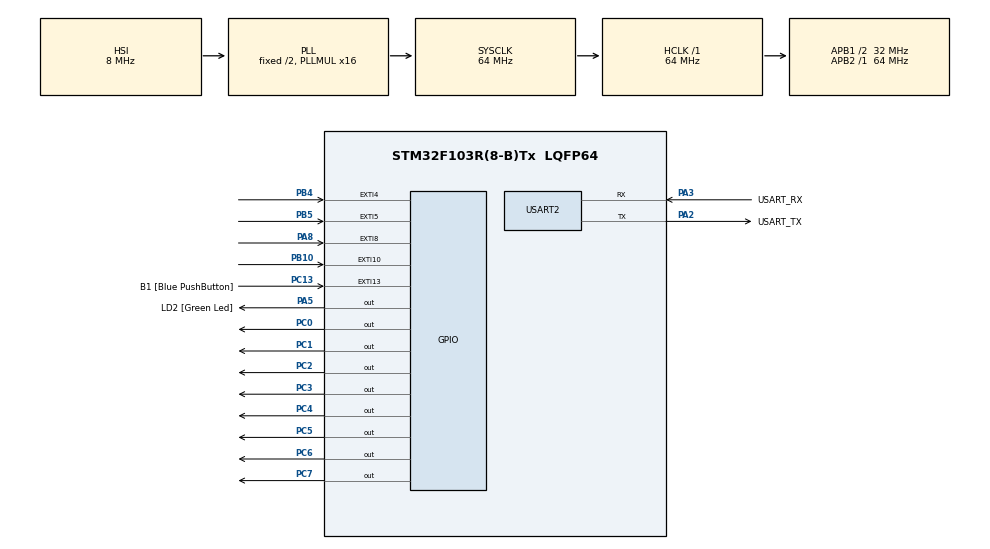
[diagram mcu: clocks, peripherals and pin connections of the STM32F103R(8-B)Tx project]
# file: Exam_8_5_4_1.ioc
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Mcu.Family=STM32F1
Mcu.Name=STM32F103R(8-B)Tx
Mcu.Package=LQFP64
NVIC.EXTI15_10_IRQn=true\:0\:0\:false\:false\:true\:true\:true\:true
NVIC.EXTI4_IRQn=true\:0\:0\:false\:false\:true\:true\:true\:true
NVIC.EXTI9_5_IRQn=true\:0\:0\:false\:false\:true\:true\:true\:true
NVIC.PriorityGroup=NVIC_PRIORITYGROUP_4
NVIC.TIM2_IRQn=true\:0\:0\:false\:false\:true\:true\:true\:true
PA13.GPIO_Label=TMS
PA13.Mode=Serial_Wire
PA13.Signal=SYS_JTMS-SWDIO
PA14.GPIO_Label=TCK
PA14.Mode=Serial_Wire
PA14.Signal=SYS_JTCK-SWCLK
PA2.GPIO_Label=USART_TX
PA2.GPIO_Mode=GPIO_MODE_AF_PP
PA2.GPIO_PuPd=GPIO_NOPULL
PA2.GPIO_Speed=GPIO_SPEED_FREQ_LOW
PA2.Mode=Asynchronous
PA2.Signal=USART2_TX
PA3.GPIO_Label=USART_RX
PA3.GPIO_Mode=GPIO_MODE_AF_PP
PA3.GPIO_PuPd=GPIO_NOPULL
PA3.GPIO_Speed=GPIO_SPEED_FREQ_LOW
PA3.Mode=Asynchronous
PA3.Signal=USART2_RX
PA5.GPIO_Label=LD2 [Green Led]
PA5.GPIO_ModeDefaultOutputPP=GPIO_MODE_OUTPUT_PP
PA5.GPIO_PuPd=GPIO_NOPULL
PA5.GPIO_Speed=GPIO_SPEED_FREQ_LOW
PA5.Signal=GPIO_Output
PA8.GPIO_ModeDefaultEXTI=GPIO_MODE_IT_FALLING
PA8.GPIO_PuPd=GPIO_PULLUP
PA8.Signal=GPXTI8
PB10.GPIO_ModeDefaultEXTI=GPIO_MODE_IT_FALLING
PB10.GPIO_PuPd=GPIO_PULLUP
PB10.Signal=GPXTI10
PB3.GPIO_Label=SWO
PB3.Signal=SYS_JTDO-TRACESWO
PB4.GPIO_ModeDefaultEXTI=GPIO_MODE_IT_FALLING
PB4.GPIO_PuPd=GPIO_PULLUP
PB4.Signal=GPXTI4
PB5.GPIO_ModeDefaultEXTI=GPIO_MODE_IT_FALLING
PB5.GPIO_PuPd=GPIO_PULLUP
PB5.Signal=GPXTI5
PC0.Signal=GPIO_Output
PC1.Signal=GPIO_Output
PC13-TAMPER-RTC.GPIO_Label=B1 [Blue PushButton]
PC13-TAMPER-RTC.GPIO_PuPd=GPIO_NOPULL
PC13-TAMPER-RTC.Signal=GPXTI13
PC14-OSC32_IN.Mode=LSE-External-Oscillator
PC14-OSC32_IN.Signal=RCC_OSC32_IN
PC15-OSC32_OUT.Mode=LSE-External-Oscillator
PC15-OSC32_OUT.Signal=RCC_OSC32_OUT
PC2.Signal=GPIO_Output
PC3.Signal=GPIO_Output
PC4.Signal=GPIO_Output
PC5.Signal=GPIO_Output
PC6.Signal=GPIO_Output
PC7.Signal=GPIO_Output
PD0-OSC_IN.Mode=HSE-External-Clock-Source
PD0-OSC_IN.Signal=RCC_OSC_IN
PD1-OSC_OUT.Mode=HSE-External-Clock-Source
PD1-OSC_OUT.Signal=RCC_OSC_OUT
ProjectManager.HeapSize=0x200
ProjectManager.StackSize=0x400
ProjectManager.TargetToolchain=STM32CubeIDE
RCC.AHBFreq_Value=64000000
RCC.APB1CLKDivider=RCC_HCLK_DIV2
RCC.APB1Freq_Value=32000000
RCC.APB1TimFreq_Value=64000000
RCC.APB2Freq_Value=64000000
RCC.APB2TimFreq_Value=64000000
RCC.HCLKFreq_Value=64000000
RCC.PLLMUL=RCC_PLL_MUL16
RCC.RTCClockSelection=RCC_RTCCLKSOURCE_LSE
RCC.SYSCLKFreq_VALUE=64000000
RCC.SYSCLKSource=RCC_SYSCLKSOURCE_PLLCLK
RCC.USBFreq_Value=64000000
TIM2.Channel-Output\ Compare1\ No\ Output=TIM_CHANNEL_1
TIM2.Channel-Output\ Compare2\ No\ Output=TIM_CHANNEL_2
TIM2.Period=9999
TIM2.Prescaler=6399
TIM2.Pulse-Output\ Compare1\ No\ Output=999
TIM2.Pulse-Output\ Compare2\ No\ Output=3999
USART2.VirtualMode=VM_ASYNC
VP_TIM2_VS_ClockSourceINT.Mode=Internal
VP_TIM2_VS_no_output1.Mode=Output Compare1 No Output
VP_TIM2_VS_no_output2.Mode=Output Compare2 No Output
board=NUCLEO-F103RB

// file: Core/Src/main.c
/* USER CODE BEGIN Header */
/**
  ******************************************************************************
  * @file           : main.c
  * @brief          : Main program body
  ******************************************************************************
  * @attention
  *
  * Copyright (c) 2022 STMicroelectronics.
  * All rights reserved.
  *
  * This software is licensed under terms that can be found in the LICENSE file
  * in the root directory of this software component.
  * If no LICENSE file comes with this software, it is provided AS-IS.
  *
  ******************************************************************************
  */
/* USER CODE END Header */
#include "main.h"

 TIM_HandleTypeDef htim2;

UART_HandleTypeDef huart2;

/* USER CODE BEGIN PV */
TIM_ClockConfigTypeDef sClockSourceConfig = {0};
TIM_MasterConfigTypeDef sMasterConfig = {0};
TIM_OC_InitTypeDef sConfigOC = {0};
/* USER CODE END PV */

void SystemClock_Config(void);
static void MX_GPIO_Init(void);
static void MX_USART2_UART_Init(void);
static void MX_TIM2_Init(void);

/* USER CODE BEGIN 0 */
void HAL_TIM_PeriodElapsedCallback(TIM_HandleTypeDef *htim) {
	HAL_GPIO_WritePin(GPIOC, 0xff, GPIO_PIN_SET);
}

void HAL_TIM_OC_DelayElapsedCallback(TIM_HandleTypeDef *htim) {
	if(htim->Channel == HAL_TIM_ACTIVE_CHANNEL_1) {
		HAL_GPIO_WritePin(GPIOC, 0x0f, GPIO_PIN_RESET);
	}
	if(htim->Channel == HAL_TIM_ACTIVE_CHANNEL_2) {
		HAL_GPIO_WritePin(GPIOC, 0xf0, GPIO_PIN_RESET);
	}
}

void HAL_GPIO_EXTI_Callback(uint16_t GPIO_Pin) {
	if(GPIO_Pin == GPIO_PIN_8)
		TIM2->CCR1 = 200;
//		__HAL_TIM_SET_COMPARE(&htim2, TIM_CHANNEL_1, 200);
	if(GPIO_Pin == GPIO_PIN_4)
		TIM2->CCR1 = 800;
	if(GPIO_Pin == GPIO_PIN_5)
		TIM2->CCR2 = 200;
	if(GPIO_Pin == GPIO_PIN_10)
		TIM2->CCR2 = 800;
}
/* USER CODE END 0 */

int main(void)
{

  /* MCU Configuration--------------------------------------------------------*/

  /* Reset of all peripherals, Initializes the Flash interface and the Systick. */
  HAL_Init();

  /* Configure the system clock */
  SystemClock_Config();

  /* Initialize all configured peripherals */
  MX_GPIO_Init();
  MX_USART2_UART_Init();
  MX_TIM2_Init();
  /* USER CODE BEGIN 2 */
  HAL_TIM_Base_Start_IT(&htim2);
  HAL_TIM_OC_Start_IT(&htim2, TIM_CHANNEL_1);
  HAL_TIM_OC_Start_IT(&htim2, TIM_CHANNEL_2);
  /* USER CODE END 2 */

  /* Infinite loop */
  while (1)
  {

  }
}

void SystemClock_Config(void)
{
  RCC_OscInitTypeDef RCC_OscInitStruct = {0};
  RCC_ClkInitTypeDef RCC_ClkInitStruct = {0};

  /** Initializes the RCC Oscillators according to the specified parameters
  * in the RCC_OscInitTypeDef structure.
  */
  RCC_OscInitStruct.OscillatorType = RCC_OSCILLATORTYPE_HSI;
  RCC_OscInitStruct.HSIState = RCC_HSI_ON;
  RCC_OscInitStruct.HSICalibrationValue = RCC_HSICALIBRATION_DEFAULT;
  RCC_OscInitStruct.PLL.PLLState = RCC_PLL_ON;
  RCC_OscInitStruct.PLL.PLLSource = RCC_PLLSOURCE_HSI_DIV2;
  RCC_OscInitStruct.PLL.PLLMUL = RCC_PLL_MUL16;
  if (HAL_RCC_OscConfig(&RCC_OscInitStruct) != HAL_OK)
  {
    Error_Handler();
  }

  /** Initializes the CPU, AHB and APB buses clocks
  */
  RCC_ClkInitStruct.ClockType = RCC_CLOCKTYPE_HCLK|RCC_CLOCKTYPE_SYSCLK
                              |RCC_CLOCKTYPE_PCLK1|RCC_CLOCKTYPE_PCLK2;
  RCC_ClkInitStruct.SYSCLKSource = RCC_SYSCLKSOURCE_PLLCLK;
  RCC_ClkInitStruct.AHBCLKDivider = RCC_SYSCLK_DIV1;
  RCC_ClkInitStruct.APB1CLKDivider = RCC_HCLK_DIV2;
  RCC_ClkInitStruct.APB2CLKDivider = RCC_HCLK_DIV1;

  if (HAL_RCC_ClockConfig(&RCC_ClkInitStruct, FLASH_LATENCY_2) != HAL_OK)
  {
    Error_Handler();
  }
}

static void MX_TIM2_Init(void)
{

  TIM_ClockConfigTypeDef sClockSourceConfig = {0};
  TIM_MasterConfigTypeDef sMasterConfig = {0};
  TIM_OC_InitTypeDef sConfigOC = {0};

  htim2.Instance = TIM2;
  htim2.Init.Prescaler = 639;
  htim2.Init.CounterMode = TIM_COUNTERMODE_UP;
  htim2.Init.Period = 999;
  htim2.Init.ClockDivision = TIM_CLOCKDIVISION_DIV1;
  htim2.Init.AutoReloadPreload = TIM_AUTORELOAD_PRELOAD_DISABLE;
  if (HAL_TIM_Base_Init(&htim2) != HAL_OK)
  {
    Error_Handler();
  }
  sClockSourceConfig.ClockSource = TIM_CLOCKSOURCE_INTERNAL;
  if (HAL_TIM_ConfigClockSource(&htim2, &sClockSourceConfig) != HAL_OK)
  {
    Error_Handler();
  }
  if (HAL_TIM_OC_Init(&htim2) != HAL_OK)
  {
    Error_Handler();
  }
  sMasterConfig.MasterOutputTrigger = TIM_TRGO_RESET;
  sMasterConfig.MasterSlaveMode = TIM_MASTERSLAVEMODE_DISABLE;
  if (HAL_TIMEx_MasterConfigSynchronization(&htim2, &sMasterConfig) != HAL_OK)
  {
    Error_Handler();
  }
  sConfigOC.OCMode = TIM_OCMODE_TIMING;
  sConfigOC.Pulse = 4999;
  sConfigOC.OCPolarity = TIM_OCPOLARITY_HIGH;
  sConfigOC.OCFastMode = TIM_OCFAST_DISABLE;
  if (HAL_TIM_OC_ConfigChannel(&htim2, &sConfigOC, TIM_CHANNEL_1) != HAL_OK)
  {
    Error_Handler();
  }
  sConfigOC.Pulse = 4999;
  if (HAL_TIM_OC_ConfigChannel(&htim2, &sConfigOC, TIM_CHANNEL_2) != HAL_OK)
  {
    Error_Handler();
  }

}

static void MX_USART2_UART_Init(void)
{

  huart2.Instance = USART2;
  huart2.Init.BaudRate = 115200;
  huart2.Init.WordLength = UART_WORDLENGTH_8B;
  huart2.Init.StopBits = UART_STOPBITS_1;
  huart2.Init.Parity = UART_PARITY_NONE;
  huart2.Init.Mode = UART_MODE_TX_RX;
  huart2.Init.HwFlowCtl = UART_HWCONTROL_NONE;
  huart2.Init.OverSampling = UART_OVERSAMPLING_16;
  if (HAL_UART_Init(&huart2) != HAL_OK)
  {
    Error_Handler();
  }

}

static void MX_GPIO_Init(void)
{
  GPIO_InitTypeDef GPIO_InitStruct = {0};

  /* GPIO Ports Clock Enable */
  __HAL_RCC_GPIOC_CLK_ENABLE();
  __HAL_RCC_GPIOD_CLK_ENABLE();
  __HAL_RCC_GPIOA_CLK_ENABLE();
  __HAL_RCC_GPIOB_CLK_ENABLE();

  /*Configure GPIO pin Output Level */
  HAL_GPIO_WritePin(GPIOC, GPIO_PIN_0|GPIO_PIN_1|GPIO_PIN_2|GPIO_PIN_3
                          |GPIO_PIN_4|GPIO_PIN_5|GPIO_PIN_6|GPIO_PIN_7, GPIO_PIN_RESET);

  /*Configure GPIO pin Output Level */
  HAL_GPIO_WritePin(LD2_GPIO_Port, LD2_Pin, GPIO_PIN_RESET);

  /*Configure GPIO pin : B1_Pin */
  GPIO_InitStruct.Pin = B1_Pin;
  GPIO_InitStruct.Mode = GPIO_MODE_IT_RISING;
  GPIO_InitStruct.Pull = GPIO_NOPULL;
  HAL_GPIO_Init(B1_GPIO_Port, &GPIO_InitStruct);

  /*Configure GPIO pins : PC0 PC1 PC2 PC3
                           PC4 PC5 PC6 PC7 */
  GPIO_InitStruct.Pin = GPIO_PIN_0|GPIO_PIN_1|GPIO_PIN_2|GPIO_PIN_3
                          |GPIO_PIN_4|GPIO_PIN_5|GPIO_PIN_6|GPIO_PIN_7;
  GPIO_InitStruct.Mode = GPIO_MODE_OUTPUT_PP;
  GPIO_InitStruct.Pull = GPIO_NOPULL;
  GPIO_InitStruct.Speed = GPIO_SPEED_FREQ_LOW;
  HAL_GPIO_Init(GPIOC, &GPIO_InitStruct);

  /*Configure GPIO pin : LD2_Pin */
  GPIO_InitStruct.Pin = LD2_Pin;
  GPIO_InitStruct.Mode = GPIO_MODE_OUTPUT_PP;
  GPIO_InitStruct.Pull = GPIO_NOPULL;
  GPIO_InitStruct.Speed = GPIO_SPEED_FREQ_LOW;
  HAL_GPIO_Init(LD2_GPIO_Port, &GPIO_InitStruct);

  /*Configure GPIO pins : PB10 PB4 PB5 */
  GPIO_InitStruct.Pin = GPIO_PIN_10|GPIO_PIN_4|GPIO_PIN_5;
  GPIO_InitStruct.Mode = GPIO_MODE_IT_FALLING;
  GPIO_InitStruct.Pull = GPIO_PULLUP;
  HAL_GPIO_Init(GPIOB, &GPIO_InitStruct);

  /*Configure GPIO pin : PA8 */
  GPIO_InitStruct.Pin = GPIO_PIN_8;
  GPIO_InitStruct.Mode = GPIO_MODE_IT_FALLING;
  GPIO_InitStruct.Pull = GPIO_PULLUP;
  HAL_GPIO_Init(GPIOA, &GPIO_InitStruct);

  /* EXTI interrupt init*/
  HAL_NVIC_SetPriority(EXTI4_IRQn, 0, 0);
  HAL_NVIC_EnableIRQ(EXTI4_IRQn);

  HAL_NVIC_SetPriority(EXTI9_5_IRQn, 0, 0);
  HAL_NVIC_EnableIRQ(EXTI9_5_IRQn);

  HAL_NVIC_SetPriority(EXTI15_10_IRQn, 0, 0);
  HAL_NVIC_EnableIRQ(EXTI15_10_IRQn);

}

void Error_Handler(void)
{
  __disable_irq();
  while (1)
  {
  }
}
